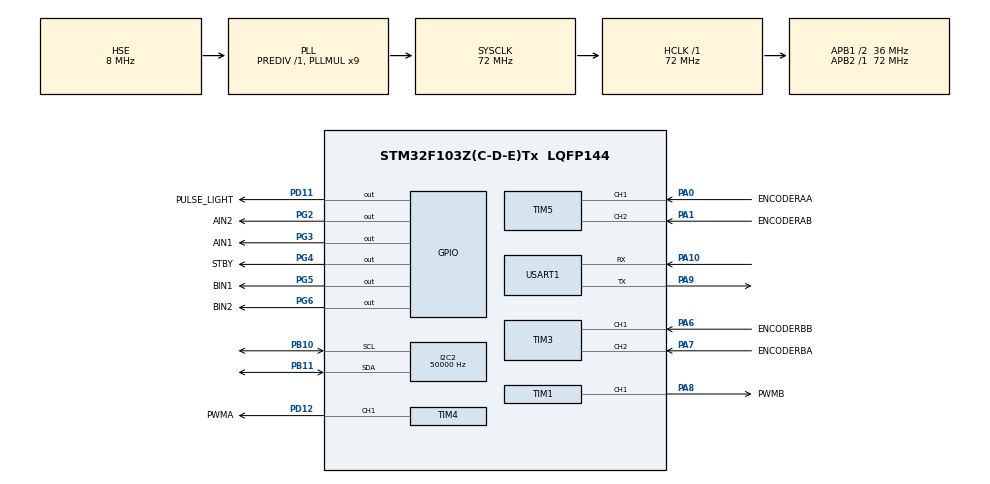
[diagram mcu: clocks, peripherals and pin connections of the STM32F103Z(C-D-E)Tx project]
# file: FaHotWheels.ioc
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I2C2.ClockSpeed=50000
Mcu.Family=STM32F1
Mcu.Name=STM32F103Z(C-D-E)Tx
Mcu.Package=LQFP144
NVIC.PriorityGroup=NVIC_PRIORITYGROUP_4
NVIC.TIM3_IRQn=true\:4\:0\:true\:false\:true\:true\:true\:true
NVIC.TIM5_IRQn=true\:4\:0\:true\:false\:true\:true\:true\:true
NVIC.TIM6_IRQn=true\:12\:0\:true\:false\:true\:true\:true\:true
OSC_IN.Mode=HSE-External-Oscillator
OSC_IN.Signal=RCC_OSC_IN
OSC_OUT.Mode=HSE-External-Oscillator
OSC_OUT.Signal=RCC_OSC_OUT
PA0-WKUP.GPIO_Label=ENCODERAA
PA0-WKUP.GPIO_PuPd=GPIO_PULLUP
PA0-WKUP.Signal=S_TIM5_CH1
PA1.GPIO_Label=ENCODERAB
PA1.GPIO_PuPd=GPIO_PULLUP
PA1.Signal=S_TIM5_CH2
PA10.Mode=Asynchronous
PA10.Signal=USART1_RX
PA13.Mode=Serial_Wire
PA13.Signal=SYS_JTMS-SWDIO
PA14.Mode=Serial_Wire
PA14.Signal=SYS_JTCK-SWCLK
PA6.GPIO_Label=ENCODERBB
PA6.GPIO_PuPd=GPIO_PULLUP
PA6.Signal=S_TIM3_CH1
PA7.GPIO_Label=ENCODERBA
PA7.GPIO_PuPd=GPIO_PULLUP
PA7.Signal=S_TIM3_CH2
PA8.GPIO_Label=PWMB
PA8.Signal=S_TIM1_CH1
PA9.Mode=Asynchronous
PA9.Signal=USART1_TX
PB10.Mode=I2C
PB10.Signal=I2C2_SCL
PB11.Mode=I2C
PB11.Signal=I2C2_SDA
PC14-OSC32_IN.Mode=LSE-External-Oscillator
PC14-OSC32_IN.Signal=RCC_OSC32_IN
PC15-OSC32_OUT.Mode=LSE-External-Oscillator
PC15-OSC32_OUT.Signal=RCC_OSC32_OUT
PD11.GPIO_Label=PULSE_LIGHT
PD11.GPIO_PuPd=GPIO_PULLDOWN
PD11.Signal=GPIO_Output
PD12.GPIO_Label=PWMA
PD12.Signal=S_TIM4_CH1
PG2.GPIO_Label=AIN2
PG2.GPIO_PuPd=GPIO_PULLDOWN
PG2.Signal=GPIO_Output
PG3.GPIO_Label=AIN1
PG3.GPIO_PuPd=GPIO_PULLDOWN
PG3.Signal=GPIO_Output
PG4.GPIO_Label=STBY
PG4.GPIO_PuPd=GPIO_PULLDOWN
PG4.Signal=GPIO_Output
PG5.GPIO_Label=BIN1
PG5.GPIO_PuPd=GPIO_PULLDOWN
PG5.Signal=GPIO_Output
PG6.GPIO_Label=BIN2
PG6.GPIO_PuPd=GPIO_PULLDOWN
PG6.Signal=GPIO_Output
ProjectManager.HeapSize=0x200
ProjectManager.StackSize=0x400
ProjectManager.TargetToolchain=STM32CubeIDE
RCC.AHBFreq_Value=72000000
RCC.APB1CLKDivider=RCC_HCLK_DIV2
RCC.APB1Freq_Value=36000000
RCC.APB1TimFreq_Value=72000000
RCC.APB2Freq_Value=72000000
RCC.APB2TimFreq_Value=72000000
RCC.HCLKFreq_Value=72000000
RCC.PLLMUL=RCC_PLL_MUL9
RCC.PLLSourceVirtual=RCC_PLLSOURCE_HSE
RCC.SYSCLKFreq_VALUE=72000000
RCC.SYSCLKSource=RCC_SYSCLKSOURCE_PLLCLK
RCC.USBFreq_Value=72000000
SH.S_TIM1_CH1.0=TIM1_CH1,PWM Generation1 CH1
SH.S_TIM3_CH1.0=TIM3_CH1,Encoder_Interface
SH.S_TIM3_CH2.0=TIM3_CH2,Encoder_Interface
SH.S_TIM4_CH1.0=TIM4_CH1,PWM Generation1 CH1
SH.S_TIM5_CH1.0=TIM5_CH1,Encoder_Interface
SH.S_TIM5_CH2.0=TIM5_CH2,Encoder_Interface
STMicroelectronics.X-CUBE-ALGOBUILD.1.4.0.LibraryCcDSPOoLibraryJjDSPOoLibrary=true
STMicroelectronics.X-CUBE-ALGOBUILD.1.4.0.LibraryCcMotionOoLibrariesJjMotionOoLibraries=true
TIM1.Channel-PWM\ Generation1\ CH1=TIM_CHANNEL_1
TIM1.Period=999
TIM1.Prescaler=71
TIM3.EncoderMode=TIM_ENCODERMODE_TI12
TIM3.IC1Filter=6
TIM3.IC2Filter=6
TIM3.TIM_MasterOutputTrigger=TIM_TRGO_RESET
TIM3.TIM_MasterSlaveMode=TIM_MASTERSLAVEMODE_DISABLE
TIM4.Channel-PWM\ Generation1\ CH1=TIM_CHANNEL_1
TIM4.Period=999
TIM4.Prescaler=71
TIM5.EncoderMode=TIM_ENCODERMODE_TI12
TIM5.IC1Filter=6
TIM5.IC2Filter=6
TIM5.TIM_MasterSlaveMode=TIM_MASTERSLAVEMODE_DISABLE
TIM6.Period=20000-1
TIM6.Prescaler=72-1
USART1.VirtualMode=VM_ASYNC
VP_STMicroelectronics.X-CUBE-ALGOBUILD_VS_DSPOoLibraryJjLibrary_1.4.0_1.4.0.Mode=DSPOoLibraryJjLibrary
VP_STMicroelectronics.X-CUBE-ALGOBUILD_VS_MotionOoLibrariesJjLibrary_1.4.0_1.4.0.Mode=MotionOoLibrariesJjLibrary
VP_TIM6_VS_ClockSourceINT.Mode=Enable_Timer
board=custom

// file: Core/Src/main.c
/* USER CODE BEGIN Header */
/**
  ******************************************************************************
  * @file           : main.c
  * @brief          : Main program body
  ******************************************************************************
  * @attention
  *
  * Copyright (c) 2025 STMicroelectronics.
  * All rights reserved.
  *
  * This software is licensed under terms that can be found in the LICENSE file
  * in the root directory of this software component.
  * If no LICENSE file comes with this software, it is provided AS-IS.
  *
  ******************************************************************************
  */
/* USER CODE END Header */
#include "main.h"
#include "i2c.h"
#include "tim.h"
#include "usart.h"
#include "gpio.h"

/* USER CODE BEGIN Includes */
#include "stdio.h"
#include "mpu6050.h"
#include "tb6612fng.h"
#include "encoder.h"
#include "encoder_test.h"
#include "mpu6050_test.h"
#include "accel_cal.h"
#include "pid_balance.h"

/* USER CODE END Includes */

/* USER CODE BEGIN PD */
/* Enable only one test/cal mode at a time (blocks and skips balance loop). */
#ifndef RUN_ENCODER_TEST
#define RUN_ENCODER_TEST  0
#endif
#ifndef RUN_MPU_TEST
#define RUN_MPU_TEST      1
#endif
#ifndef RUN_ACCEL_CAL
#define RUN_ACCEL_CAL     0   /* 1 = MPU6050 six-face accel calibration */
#endif
/* USER CODE END PD */

void SystemClock_Config(void);

/* USER CODE BEGIN 0 */
int __io_putchar(int ch) {
	HAL_UART_Transmit(&huart1, (uint8_t *)&ch, 1, 1000);
	return ch;
}
/* USER CODE END 0 */

int main(void)
{

  /* MCU Configuration--------------------------------------------------------*/

  /* Reset of all peripherals, Initializes the Flash interface and the Systick. */
  HAL_Init();

  /* Configure the system clock */
  SystemClock_Config();

  /* Initialize all configured peripherals */
  MX_GPIO_Init();
  MX_USART1_UART_Init();
  MX_I2C2_Init();
  MX_TIM4_Init();
  MX_TIM1_Init();
  MX_TIM3_Init();
  MX_TIM5_Init();
  MX_TIM6_Init();
  /* USER CODE BEGIN 2 */
  MotorInit();
  /* MotorHwTest(); */ /* enable only when debugging motor wiring */

  Enc_Init();
#if RUN_ENCODER_TEST
  Enc_SelfTest(); /* UART count / rev / RPM — does not return */
#endif

  HAL_Delay(100); /* MPU6050 power-up settle */

  /* Probe I2C: AD0=GND → 0xD0, AD0=VCC → 0xD2 (HAL 8-bit addr) */
  if (HAL_I2C_IsDeviceReady(&hi2c2, 0xD0, 5, 200) == HAL_OK) {
	  printf("MPU6050 ACK @ 0x68 (0xD0)\r\n");
  } else if (HAL_I2C_IsDeviceReady(&hi2c2, 0xD2, 5, 200) == HAL_OK) {
	  printf("MPU6050 ACK @ 0x69 (0xD2) — check AD0 / addr in inv_mpu.c\r\n");
  } else {
	  printf("MPU6050 no ACK on I2C2 (PB10/SCL, PB11/SDA). Check wiring/power.\r\n");
  }

  int ret = 0;
  do {
	  ret = MPU6050_DMP_init();
	  if (ret != 0) {
		  printf("MPU6050 init failure, ret = %d!\r\n", ret);
		  HAL_Delay(500);
	  }
  } while (ret);
  printf("MPU6050 Ready!\r\n");

#if RUN_MPU_TEST
  MPU_SelfTest(); /* UART: pitch, roll, yaw, gyro_dps — does not return */
#endif
#if RUN_ACCEL_CAL
  AccelCal_SelfTest(); /* six-face cal → flash — does not return */
#endif

  PID_Init();
  printf("Enter balance loop. ANGLE_MECH_ZERO=%.2f GYRO_BIAS=%.2f\r\n",
		 ANGLE_MECH_ZERO, GYRO_BIAS);

  /* USER CODE END 2 */

  /* Infinite loop */
  /* USER CODE BEGIN WHILE */
  float roll, yaw, pitch, gyro_dps;
  float angle_trim = 0.0f;
  float speed_filt = 0.0f;
  int16_t duty_filt = 0;
  uint32_t log_div = 0;
  uint32_t speed_div = 0;
  (void)speed_filt;  /* used when speed loop is enabled */
  (void)speed_div;
  while (1)
  {
    /* USER CODE END WHILE */

    /* USER CODE BEGIN 3 */
	  if (MPU6050_DMP_Get_Date(&pitch, &roll, &yaw, &gyro_dps) != 0) {
		  HAL_Delay(1);
		  continue;
	  }
	  gyro_dps -= GYRO_BIAS;

	  /* Speed loop ~10 Hz, feedback in output-shaft RPM */
//	  if ((++speed_div % 10U) == 0U) {
//		  float left_rpm, right_rpm;
//		  ENC_GetSpeeds(&left_rpm, &right_rpm);
//		  float spd = (left_rpm + right_rpm) / 2.0f;
//		  speed_filt = 0.8f * speed_filt + 0.2f * spd;
//		  SpeedPID.NowVal = speed_filt;
//		  SpeedPID.SetVal = speed_target_rpm;
//		  angle_trim = PID_Calc(&SpeedPID);
//	  }

	  BalancePID.SetVal = ANGLE_MECH_ZERO + SPEED_TRIM_SIGN * angle_trim;
	  BalancePID.NowVal = pitch;
	  float pid_balance = PID_BalanceGyro(&BalancePID, gyro_dps);

	  int16_t duty = (int16_t)(8.0f * pid_balance);
	  if (duty > 900) duty = 900;
	  if (duty < -900) duty = -900;

	  {
		  const int16_t max_step = 35;
		  int16_t d = (int16_t)(duty - duty_filt);
		  if (d > max_step) d = max_step;
		  if (d < -max_step) d = -max_step;
		  duty_filt = (int16_t)(duty_filt + d);
	  }

	  MotorControl(duty_filt);

	  if ((++log_div % 50U) == 0U) {
		  printf("p=%.2f g=%.1f tgt=%.2f bal=%.2f duty=%d\r\n",
				 pitch, gyro_dps, BalancePID.SetVal, pid_balance, duty_filt);
	  }

	  HAL_GPIO_TogglePin(PULSE_LIGHT_GPIO_Port, PULSE_LIGHT_Pin);
  }
  /* USER CODE END 3 */
}

void SystemClock_Config(void)
{
  RCC_OscInitTypeDef RCC_OscInitStruct = {0};
  RCC_ClkInitTypeDef RCC_ClkInitStruct = {0};

  /** Initializes the RCC Oscillators according to the specified parameters
  * in the RCC_OscInitTypeDef structure.
  */
  RCC_OscInitStruct.OscillatorType = RCC_OSCILLATORTYPE_HSE;
  RCC_OscInitStruct.HSEState = RCC_HSE_ON;
  RCC_OscInitStruct.HSEPredivValue = RCC_HSE_PREDIV_DIV1;
  RCC_OscInitStruct.HSIState = RCC_HSI_ON;
  RCC_OscInitStruct.PLL.PLLState = RCC_PLL_ON;
  RCC_OscInitStruct.PLL.PLLSource = RCC_PLLSOURCE_HSE;
  RCC_OscInitStruct.PLL.PLLMUL = RCC_PLL_MUL9;
  if (HAL_RCC_OscConfig(&RCC_OscInitStruct) != HAL_OK)
  {
    Error_Handler();
  }

  /** Initializes the CPU, AHB and APB buses clocks
  */
  RCC_ClkInitStruct.ClockType = RCC_CLOCKTYPE_HCLK|RCC_CLOCKTYPE_SYSCLK
                              |RCC_CLOCKTYPE_PCLK1|RCC_CLOCKTYPE_PCLK2;
  RCC_ClkInitStruct.SYSCLKSource = RCC_SYSCLKSOURCE_PLLCLK;
  RCC_ClkInitStruct.AHBCLKDivider = RCC_SYSCLK_DIV1;
  RCC_ClkInitStruct.APB1CLKDivider = RCC_HCLK_DIV2;
  RCC_ClkInitStruct.APB2CLKDivider = RCC_HCLK_DIV1;

  if (HAL_RCC_ClockConfig(&RCC_ClkInitStruct, FLASH_LATENCY_2) != HAL_OK)
  {
    Error_Handler();
  }
}

void Error_Handler(void)
{
  __disable_irq();
  while (1)
  {
  }
}
